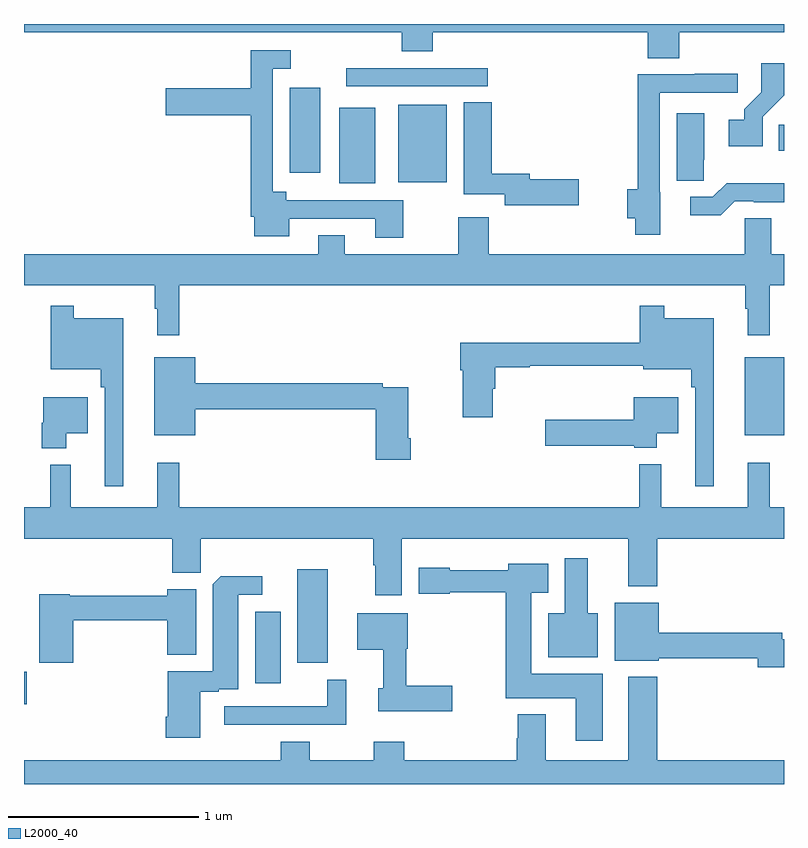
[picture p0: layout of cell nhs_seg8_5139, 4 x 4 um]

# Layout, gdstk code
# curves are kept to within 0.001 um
import gdstk
lib = gdstk.Library(unit=1e-6, precision=1e-09)
def R(c, l, rs):  # rectangles x0, y0, x1, y1
    for r in rs: c.add(gdstk.rectangle(r[:2], r[2:], *l))
def P(c, l, *ps):  # polygons
    for p in ps: c.add(gdstk.Polygon(p, *l))
L2000_40 = (2000, 40)

nhs_seg8_5139 = lib.new_cell('nhs_seg8_5139')
R(nhs_seg8_5139, L2000_40, [(421,1090.319,421.015,1090.49), (422.216,1090.431,422.35,1090.807), (422.438,1090.539,422.599,1091.029), (424.793,1091.735,425,1092.145), (422.66,1093.061,422.848,1093.459), (422.969,1093.067,423.226,1093.474), (422.399,1093.116,422.56,1093.564), (424.972,1093.232,425,1093.37), (422.697,1093.572,423.442,1093.668)])
P(nhs_seg8_5139, L2000_40, [(424.448,1093.856),(425,1093.856),(425,1093.9),(421,1093.9),(421,1093.856),(422.987,1093.856),(422.987,1093.757),(423.152,1093.757),(423.152,1093.856),(424.283,1093.856),(424.283,1093.72),(424.448,1093.72)],
  [(422.997,1092.972),(422.38,1092.972),(422.38,1093.018),(422.31,1093.018),(422.31,1093.665),(422.404,1093.665),(422.404,1093.761),(422.194,1093.761),(422.194,1093.563),(421.746,1093.563),(421.746,1093.421),(422.194,1093.421),(422.194,1092.886),(422.213,1092.886),(422.213,1092.782),(422.395,1092.782),(422.395,1092.876),(422.849,1092.876),(422.849,1092.774),(422.997,1092.774)],
  [(424.887,1093.411),(425,1093.524),(425,1093.693),(424.881,1093.693),(424.881,1093.541),(424.79,1093.451),(424.79,1093.396),(424.71,1093.396),(424.71,1093.256),(424.887,1093.256)],
  [(424.348,1093.014),(424.347,1093.014),(424.347,1093.539),(424.756,1093.539),(424.756,1093.638),(424.531,1093.638),(424.531,1093.635),(424.231,1093.635),(424.231,1093.031),(424.175,1093.031),(424.175,1092.878),(424.218,1092.878),(424.218,1092.792),(424.348,1092.792)],
  [(423.919,1093.082),(423.661,1093.082),(423.661,1093.111),(423.461,1093.111),(423.461,1093.487),(423.314,1093.487),(423.314,1093.004),(423.53,1093.004),(423.53,1092.947),(423.919,1092.947)],
  [(424.578,1093.186),(424.579,1093.186),(424.579,1093.429),(424.436,1093.429),(424.436,1093.075),(424.578,1093.075)],
  [(424.74,1092.966),(424.84,1092.966),(424.84,1092.963),(425,1092.963),(425,1093.063),(424.699,1093.063),(424.626,1092.99),(424.506,1092.99),(424.506,1092.893),(424.667,1092.893)],
  [(421.817,1092.524),(424.797,1092.524),(424.797,1092.401),(424.808,1092.401),(424.808,1092.261),(424.925,1092.261),(424.925,1092.524),(425,1092.524),(425,1092.688),(424.933,1092.688),(424.933,1092.878),(424.794,1092.878),(424.794,1092.688),(423.446,1092.688),(423.446,1092.883),(423.286,1092.883),(423.286,1092.688),(422.689,1092.688),(422.689,1092.787),(422.549,1092.787),(422.549,1092.688),(421,1092.688),(421,1092.524),(421.689,1092.524),(421.689,1092.401),(421.7,1092.401),(421.7,1092.261),(421.817,1092.261)],
  [(424.63,1092.352),(424.369,1092.352),(424.369,1092.418),(424.24,1092.418),(424.24,1092.223),(423.296,1092.223),(423.296,1092.077),(423.308,1092.077),(423.308,1091.829),(423.466,1091.829),(423.466,1091.979),(423.479,1091.979),(423.479,1092.094),(423.662,1092.094),(423.662,1092.102),(424.259,1092.102),(424.259,1092.083),(424.513,1092.083),(424.513,1091.987),(424.533,1091.987),(424.533,1091.466),(424.63,1091.466)],
  [(421.522,1092.352),(421.261,1092.352),(421.261,1092.418),(421.14,1092.418),(421.14,1092.083),(421.405,1092.083),(421.405,1091.987),(421.425,1091.987),(421.425,1091.466),(421.522,1091.466)],
  [(423.035,1091.719),(423.022,1091.719),(423.022,1091.988),(422.888,1091.988),(422.888,1092.008),(421.9,1092.008),(421.9,1092.145),(421.685,1092.145),(421.685,1091.735),(421.9,1091.735),(421.9,1091.872),(422.852,1091.872),(422.852,1091.607),(423.035,1091.607)],
  [(421.222,1091.747),(421.336,1091.747),(421.336,1091.935),(421.1,1091.935),(421.1,1091.802),(421.093,1091.802),(421.093,1091.666),(421.222,1091.666)],
  [(424.33,1091.747),(424.444,1091.747),(424.444,1091.935),(424.208,1091.935),(424.208,1091.817),(423.744,1091.817),(423.744,1091.68),(424.212,1091.68),(424.212,1091.669),(424.33,1091.669)],
  [(421.817,1091.59),(421.7,1091.59),(421.7,1091.356),(421.247,1091.356),(421.247,1091.581),(421.137,1091.581),(421.137,1091.356),(421,1091.356),(421,1091.192),(421.781,1091.192),(421.781,1091.011),(421.931,1091.011),(421.931,1091.192),(422.837,1091.192),(422.837,1091.051),(422.849,1091.051),(422.849,1090.893),(422.989,1090.893),(422.989,1091.192),(424.181,1091.192),(424.181,1090.94),(424.334,1090.94),(424.334,1091.192),(425,1091.192),(425,1091.356),(424.925,1091.356),(424.925,1091.59),(424.808,1091.59),(424.808,1091.356),(424.355,1091.356),(424.355,1091.584),(424.237,1091.584),(424.237,1091.356),(421.817,1091.356)],
  [(424.021,1090.798),(423.967,1090.798),(423.967,1091.089),(423.845,1091.089),(423.845,1090.798),(423.758,1090.798),(423.758,1090.568),(424.021,1090.568)],
  [(424.045,1090.48),(423.67,1090.48),(423.67,1090.907),(423.76,1090.907),(423.76,1091.059),(423.548,1091.059),(423.548,1091.026),(423.24,1091.026),(423.24,1091.038),(423.078,1091.038),(423.078,1090.901),(423.24,1090.901),(423.24,1090.909),(423.536,1090.909),(423.536,1090.352),(423.905,1090.352),(423.905,1090.128),(424.045,1090.128)],
  [(421.927,1090.386),(422.024,1090.386),(422.024,1090.398),(422.128,1090.398),(422.128,1090.896),(422.254,1090.896),(422.254,1090.994),(422.035,1090.994),(421.994,1090.952),(421.994,1090.494),(421.757,1090.494),(421.757,1090.255),(421.745,1090.255),(421.745,1090.143),(421.927,1090.143)],
  [(421.259,1090.762),(421.754,1090.762),(421.754,1090.579),(421.906,1090.579),(421.906,1090.926),(421.754,1090.926),(421.754,1090.891),(421.242,1090.891),(421.242,1090.899),(421.081,1090.899),(421.081,1090.539),(421.259,1090.539)],
  [(425,1090.661),(424.99,1090.661),(424.99,1090.697),(424.342,1090.697),(424.342,1090.855),(424.109,1090.855),(424.109,1090.55),(424.342,1090.55),(424.342,1090.561),(424.862,1090.561),(424.862,1090.514),(425,1090.514)],
  [(423.253,1090.418),(423.011,1090.418),(423.011,1090.611),(423.019,1090.611),(423.019,1090.798),(422.753,1090.798),(422.753,1090.607),(422.89,1090.607),(422.89,1090.405),(422.864,1090.405),(422.864,1090.283),(423.253,1090.283)],
  [(425,1090.024),(424.334,1090.024),(424.334,1090.465),(424.181,1090.465),(424.181,1090.024),(423.745,1090.024),(423.745,1090.267),(423.598,1090.267),(423.598,1090.14),(423.593,1090.14),(423.593,1090.024),(423.002,1090.024),(423.002,1090.123),(422.842,1090.123),(422.842,1090.024),(422.505,1090.024),(422.505,1090.123),(422.35,1090.123),(422.35,1090.024),(421,1090.024),(421,1089.9),(425,1089.9)],
  [(422.695,1090.45),(422.596,1090.45),(422.596,1090.308),(422.055,1090.308),(422.055,1090.212),(422.695,1090.212)])

lib.write_gds('nhs_seg8_5139.gds')
